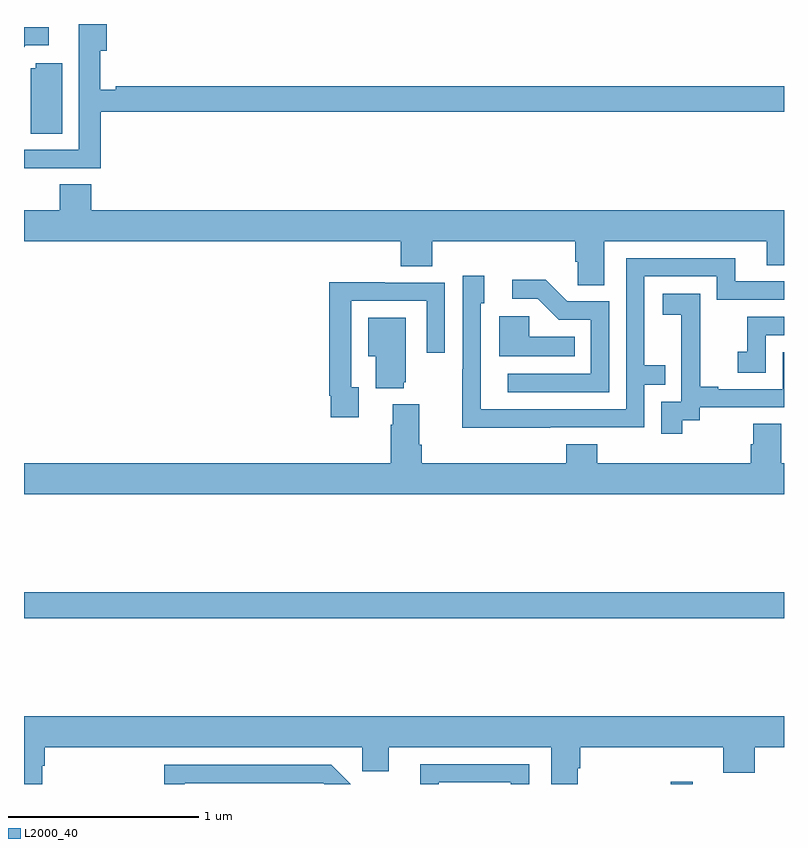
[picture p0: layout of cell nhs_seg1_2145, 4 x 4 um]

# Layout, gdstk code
import gdstk
lib = gdstk.Library(unit=1e-6, precision=1e-09)
def R(c, l, rs):  # rectangles x0, y0, x1, y1
    for r in rs: c.add(gdstk.rectangle(r[:2], r[2:], *l))
def P(c, l, *ps):  # polygons
    for p in ps: c.add(gdstk.Polygon(p, *l))
L2000_40 = (2000, 40)

nhs_seg1_2145 = lib.new_cell('nhs_seg1_2145')
R(nhs_seg1_2145, L2000_40, [(230.405,558.199,230.52,558.211), (227,559.072,231,559.208)])
P(nhs_seg1_2145, L2000_40, [(227.105,561.441),(227.405,561.441),(227.405,561.736),(231,561.736),(231,561.872),(227.482,561.872),(227.482,561.854),(227.401,561.854),(227.401,562.058),(227.435,562.058),(227.435,562.199),(227.288,562.199),(227.288,562.062),(227.289,562.062),(227.289,561.537),(227,561.537),(227,561.439),(227.105,561.439)],
  [(227.01,562.086),(227.131,562.086),(227.131,562.183),(227,562.183),(227,562.076)],
  [(227.2,561.993),(227.061,561.993),(227.061,561.966),(227.036,561.966),(227.036,561.622),(227.2,561.622)],
  [(230.053,561.056),(230.909,561.056),(230.909,560.929),(231,560.929),(231,561.22),(227.354,561.22),(227.354,561.356),(227.189,561.356),(227.189,561.22),(227,561.22),(227,561.056),(228.983,561.056),(228.983,560.923),(229.148,560.923),(229.148,561.056),(229.901,561.056),(229.901,560.947),(229.914,560.947),(229.914,560.824),(230.053,560.824)],
  [(229.769,560.076),(230.265,560.076),(230.265,560.301),(230.375,560.301),(230.375,560.402),(230.265,560.402),(230.265,560.871),(230.646,560.871),(230.646,560.748),(231,560.748),(231,560.844),(230.743,560.844),(230.743,560.967),(230.169,560.967),(230.169,560.172),(229.405,560.172),(229.405,560.426),(229.404,560.426),(229.404,560.73),(229.423,560.73),(229.423,560.875),(229.308,560.875),(229.308,560.381),(229.306,560.381),(229.306,560.075),(229.769,560.075)],
  [(230.079,560.739),(229.86,560.739),(229.747,560.852),(229.569,560.852),(229.569,560.754),(229.703,560.754),(229.814,560.643),(229.983,560.643),(229.983,560.358),(229.545,560.358),(229.545,560.262),(230.079,560.262)],
  [(228.763,560.286),(228.723,560.286),(228.723,560.742),(229.119,560.742),(229.119,560.469),(229.215,560.469),(229.215,560.838),(228.899,560.838),(228.899,560.84),(228.607,560.84),(228.607,560.242),(228.615,560.242),(228.615,560.13),(228.763,560.13)],
  [(230.464,560.113),(230.556,560.113),(230.556,560.181),(231,560.181),(231,560.472),(230.994,560.472),(230.994,560.277),(230.653,560.277),(230.653,560.29),(230.558,560.29),(230.558,560.573),(230.559,560.573),(230.559,560.779),(230.361,560.779),(230.361,560.669),(230.459,560.669),(230.459,560.441),(230.46,560.441),(230.46,560.211),(230.355,560.211),(230.355,560.043),(230.464,560.043)],
  [(229.898,560.554),(229.659,560.554),(229.659,560.662),(229.502,560.662),(229.502,560.45),(229.898,560.45)],
  [(230.904,560.562),(231,560.562),(231,560.658),(230.806,560.658),(230.806,560.473),(230.757,560.473),(230.757,560.364),(230.904,560.364)],
  [(228.998,560.313),(229.009,560.313),(229.009,560.653),(228.812,560.653),(228.812,560.45),(228.851,560.45),(228.851,560.282),(228.998,560.282)],
  [(231,559.888),(230.985,559.888),(230.985,560.096),(230.837,560.096),(230.837,559.986),(230.825,559.986),(230.825,559.888),(230.018,559.888),(230.018,559.987),(229.853,559.987),(229.853,559.888),(229.094,559.888),(229.094,559.984),(229.081,559.984),(229.081,560.197),(228.941,560.197),(228.941,560.09),(228.929,560.09),(228.929,559.888),(227,559.888),(227,559.724),(231,559.724)],
  [(227.095,558.296),(227.108,558.296),(227.108,558.392),(228.78,558.392),(228.78,558.265),(228.919,558.265),(228.919,558.392),(229.775,558.392),(229.775,558.199),(229.914,558.199),(229.914,558.283),(229.928,558.283),(229.928,558.392),(230.681,558.392),(230.681,558.259),(230.846,558.259),(230.846,558.392),(231,558.392),(231,558.556),(227,558.556),(227,558.199),(227.095,558.199)],
  [(229.182,558.207),(229.563,558.207),(229.563,558.199),(229.659,558.199),(229.659,558.303),(229.085,558.303),(229.085,558.199),(229.182,558.199)],
  [(227.847,558.204),(228.576,558.204),(228.581,558.199),(228.719,558.199),(228.618,558.3),(227.739,558.3),(227.739,558.199),(227.847,558.199)])

lib.write_gds('nhs_seg1_2145.gds')
